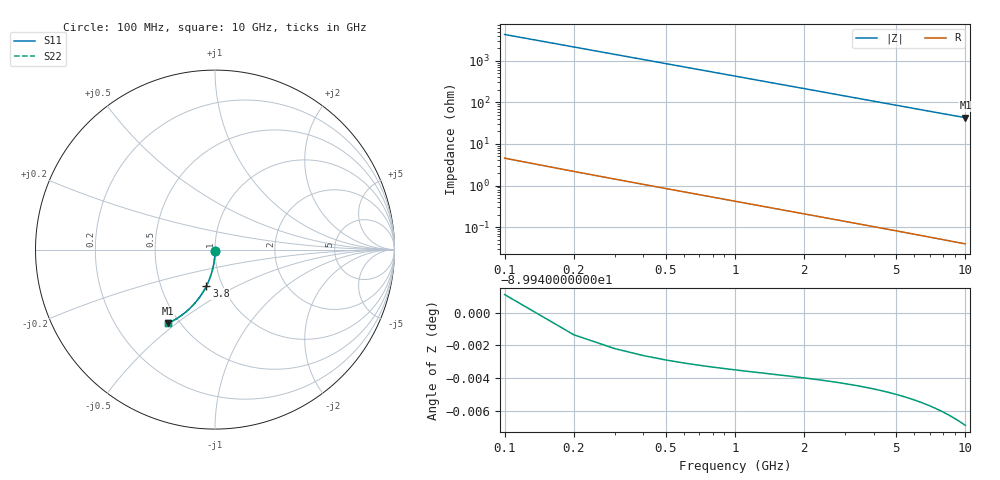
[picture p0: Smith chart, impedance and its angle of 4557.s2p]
# Hz S RI R 50.00
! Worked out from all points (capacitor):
!   100 points, 100 MHz to 10 GHz, reference 50 ohm
!   read as one part in shunt: C = 374 fF near 100 MHz
!   lowest |Z| = 42.7 ohm at 10 GHz (marker M1)
!   S11 on the Smith chart (normalised r, x): 100 MHz: 1.00, -0.01; 3.8 GHz: 0.84, -0.36; 10 GHz: 0.43, -0.47
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1e8  5.89e-05 -0.00559  0.9999 -0.00615  0.9999 -0.00615  5.89e-05 -0.00559
2e8  -4.93e-05 -0.0112  0.9997 -0.0123  0.9997 -0.0123  -4.93e-05 -0.0112
3e8  -0.000226 -0.0168  0.9996 -0.0185  0.9996 -0.0185  -0.000226 -0.0168
4e8  -0.000472 -0.0223  0.9993 -0.0246  0.9993 -0.0246  -0.000472 -0.0223
5e8  -0.000787 -0.0279  0.999 -0.0307  0.999 -0.0307  -0.000787 -0.0279
6e8  -0.00117 -0.0335  0.9986 -0.0369  0.9986 -0.0369  -0.00117 -0.0335
7e8  -0.00162 -0.039  0.9982 -0.043  0.9982 -0.043  -0.00162 -0.039
8e8  -0.00214 -0.0446  0.9976 -0.0491  0.9976 -0.0491  -0.00214 -0.0446
9e8  -0.00273 -0.0501  0.9971 -0.0553  0.9971 -0.0553  -0.00273 -0.0501
1.1e9  -0.00411 -0.0612  0.9957 -0.0675  0.9957 -0.0675  -0.00411 -0.0612
1.4e9  -0.00668 -0.0777  0.9931 -0.0857  0.9931 -0.0857  -0.00668 -0.0777
1.8e9  -0.011 -0.0995  0.9887 -0.1097  0.9887 -0.1097  -0.011 -0.0995
2.1e9  -0.015 -0.1156  0.9847 -0.1275  0.9847 -0.1275  -0.015 -0.1156
2.5e9  -0.0211 -0.1368  0.9785 -0.151  0.9785 -0.151  -0.0211 -0.1368
2.9e9  -0.0283 -0.1575  0.9714 -0.174  0.9714 -0.174  -0.0283 -0.1575
3.4e9  -0.0385 -0.1827  0.9611 -0.2021  0.9611 -0.2021  -0.0385 -0.1827
3.8e9  -0.0477 -0.2023  0.9518 -0.224  0.9518 -0.224  -0.0477 -0.2023
4.4e9  -0.063 -0.2304  0.9364 -0.2556  0.9364 -0.2556  -0.063 -0.2304
5.1e9  -0.083 -0.2613  0.9163 -0.2905  0.9163 -0.2905  -0.083 -0.2613
6.7e9  -0.1357 -0.3233  0.8633 -0.3618  0.8633 -0.3618  -0.1357 -0.3233
8.4e9  -0.1989 -0.375  0.7997 -0.4234  0.7997 -0.4234  -0.1989 -0.375
1e10  -0.2614 -0.4105  0.7366 -0.4684  0.7366 -0.4684  -0.2614 -0.4105
